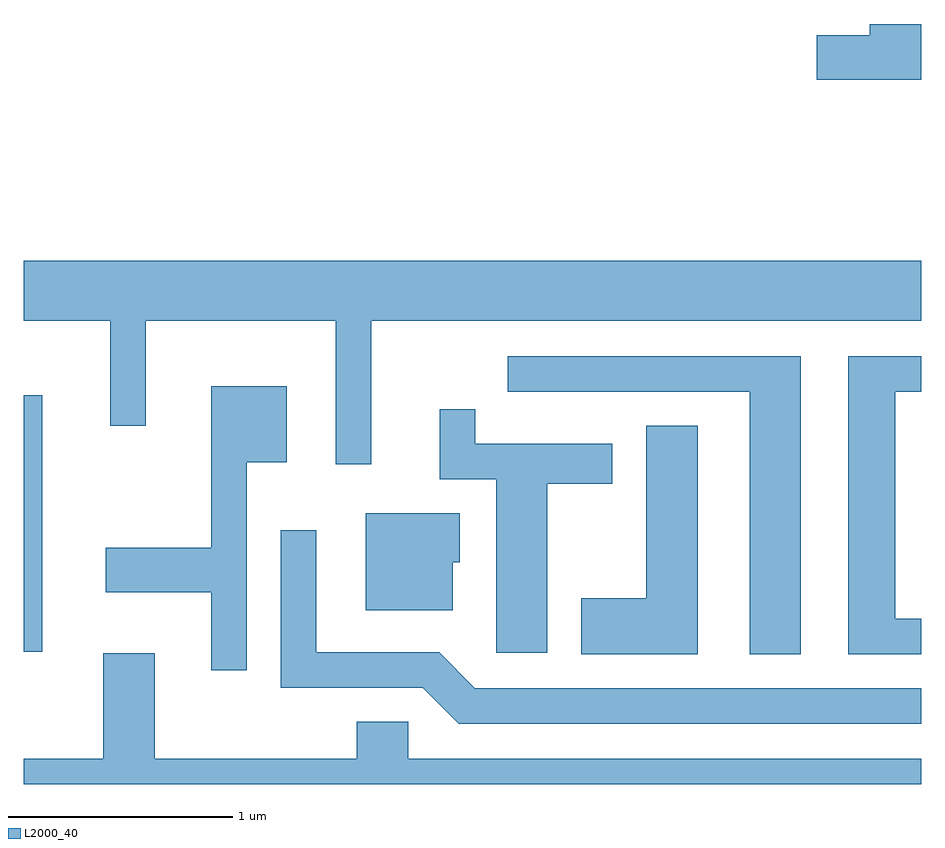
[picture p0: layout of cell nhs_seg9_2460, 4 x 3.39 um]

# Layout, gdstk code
import gdstk
lib = gdstk.Library(unit=1e-6, precision=1e-09)
def R(c, l, rs):  # rectangles x0, y0, x1, y1
    for r in rs: c.add(gdstk.rectangle(r[:2], r[2:], *l))
def P(c, l, *ps):  # polygons
    for p in ps: c.add(gdstk.Polygon(p, *l))
L2000_40 = (2000, 40)

nhs_seg9_2460 = lib.new_cell('nhs_seg9_2460')
R(nhs_seg9_2460, L2000_40, [(257.611,1977.021,257.694,1978.164)])
P(nhs_seg9_2460, L2000_40, [(261.611,1979.819),(261.381,1979.819),(261.381,1979.769),(261.146,1979.769),(261.146,1979.571),(261.611,1979.571)],
  [(259.159,1978.496),(261.611,1978.496),(261.611,1978.764),(257.611,1978.764),(257.611,1978.496),(257.996,1978.496),(257.996,1978.028),(258.154,1978.028),(258.154,1978.496),(259.001,1978.496),(259.001,1977.858),(259.159,1977.858)],
  [(261.074,1978.339),(259.767,1978.339),(259.767,1978.181),(260.846,1978.181),(260.846,1977.011),(261.074,1977.011)],
  [(261.611,1977.169),(261.494,1977.169),(261.494,1978.181),(261.611,1978.181),(261.611,1978.339),(261.286,1978.339),(261.286,1977.011),(261.611,1977.011)],
  [(258.604,1977.866),(258.784,1977.866),(258.784,1978.204),(258.446,1978.204),(258.446,1977.484),(257.976,1977.484),(257.976,1977.286),(258.446,1977.286),(258.446,1976.938),(258.604,1976.938)],
  [(259.944,1977.771),(260.234,1977.771),(260.234,1977.949),(259.624,1977.949),(259.624,1978.103),(259.466,1978.103),(259.466,1977.791),(259.716,1977.791),(259.716,1977.016),(259.944,1977.016)],
  [(260.614,1978.029),(260.386,1978.029),(260.386,1977.259),(260.096,1977.259),(260.096,1977.011),(260.614,1977.011)],
  [(259.524,1977.421),(259.554,1977.421),(259.554,1977.639),(259.136,1977.639),(259.136,1977.206),(259.524,1977.206)],
  [(261.611,1976.859),(259.622,1976.859),(259.462,1977.019),(258.914,1977.019),(258.914,1977.563),(258.756,1977.563),(258.756,1976.861),(259.389,1976.861),(259.549,1976.701),(261.611,1976.701)],
  [(261.611,1976.544),(259.324,1976.544),(259.324,1976.709),(259.096,1976.709),(259.096,1976.544),(258.194,1976.544),(258.194,1977.014),(257.966,1977.014),(257.966,1976.544),(257.611,1976.544),(257.611,1976.432),(261.611,1976.432)])

lib.write_gds('nhs_seg9_2460.gds')
